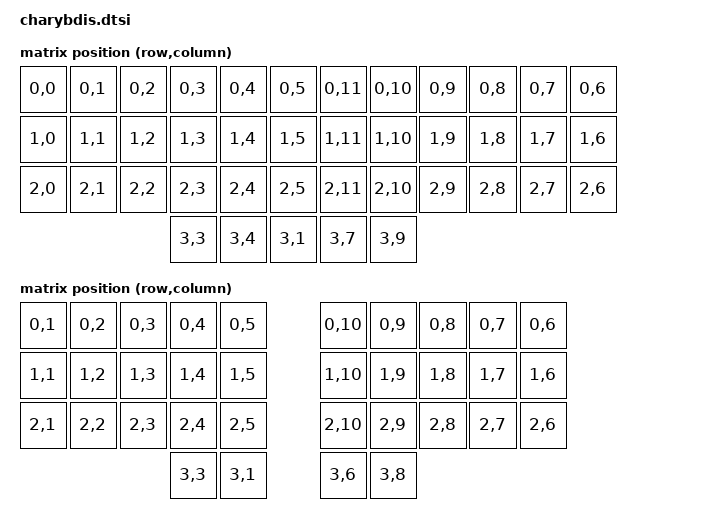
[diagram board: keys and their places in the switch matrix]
#include <dt-bindings/zmk/matrix_transform.h>

/ {
    esb_link {
        compatible = "zmk,split-esb";
        /* Varied bytes: an all-same-byte address syncs poorly (damex README). */
        base-address = [C4 6B 2E 91];
        /*
         * Trackball motion goes out without ACK, as running totals that heal
         * from the next packet or keepalive. Keys, buttons and battery stay
         * ACK'd. Pairs are <INPUT_EV_REL INPUT_REL_X>, <INPUT_EV_REL INPUT_REL_Y>.
         */
        lossy-codes = <0x02 0x00>, <0x02 0x01>;
        peripherals {
            right: peripheral_right {
                pipe = <0>;
                prefix = <0x4B>;
                weight = <1>;
            };
            left: peripheral_left {
                pipe = <1>;
                prefix = <0xC3>;
                weight = <1>;
            };
        };
    };

    chosen {
        zmk,kscan = &kscan0;
        zmk,matrix_transform = &default_transform;
    };

    default_transform: keymap_transform_0 {
        compatible = "zmk,matrix-transform";
        columns = <12>;
        rows = <4>;

        map = <
	RC(0,0) RC(0,1) RC(0,2) RC(0,3) RC(0,4) RC(0,5)  RC(0,11) RC(0,10) RC(0,9) RC(0,8) RC(0,7) RC(0,6)
	RC(1,0) RC(1,1) RC(1,2) RC(1,3) RC(1,4) RC(1,5)  RC(1,11) RC(1,10) RC(1,9) RC(1,8) RC(1,7) RC(1,6)
	RC(2,0) RC(2,1) RC(2,2) RC(2,3) RC(2,4) RC(2,5)  RC(2,11) RC(2,10) RC(2,9) RC(2,8) RC(2,7) RC(2,6)
							RC(3,3) RC(3,4) RC(3,1)  RC(3,7)  RC(3,9)
        >;
    };

    five_column_transform: keymap_transform_1 {
        compatible = "zmk,matrix-transform";
        columns = <10>;
        rows = <4>;

        map = <
	RC(0,1) RC(0,2) RC(0,3) RC(0,4) RC(0,5)  RC(0,10) RC(0,9) RC(0,8) RC(0,7) RC(0,6)
	RC(1,1) RC(1,2) RC(1,3) RC(1,4) RC(1,5)  RC(1,10) RC(1,9) RC(1,8) RC(1,7) RC(1,6)
	RC(2,1) RC(2,2) RC(2,3) RC(2,4) RC(2,5)  RC(2,10) RC(2,9) RC(2,8) RC(2,7) RC(2,6)
					RC(3,3) RC(3,1)  RC(3,6)  RC(3,8)
        >;
    };
	
    kscan0: kscan {
        diode-direction = "row2col";
        };
};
